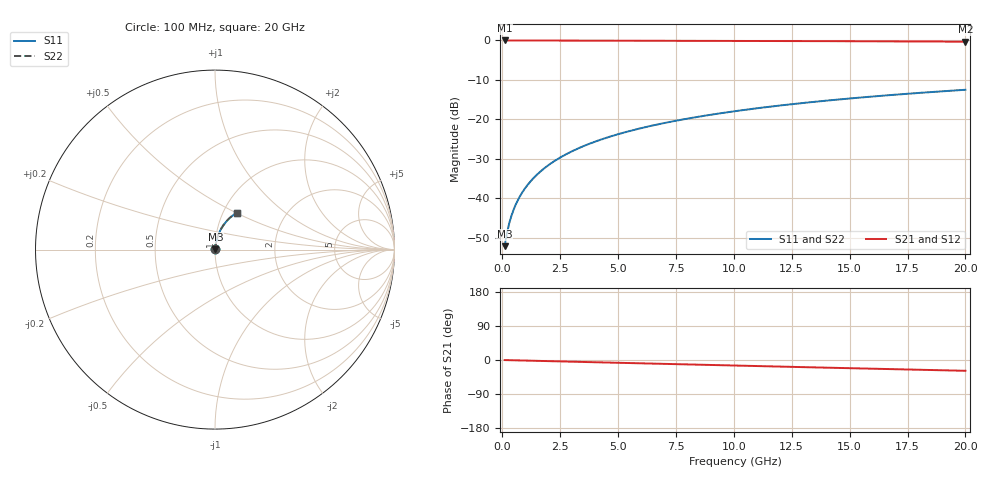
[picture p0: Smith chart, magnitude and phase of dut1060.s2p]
! Touchstone file exported from HFSS 2026.1.0
!  File:  C:/ffzhzh/LocalFiles/Ansys_Project_Files/temp_train_TMRDL_1060_1783160527_51560.aedt
!  Generated:  06:23:28 PM Jul  4, 2026
!  Design:  TMRDL
!  Project:  temp_train_TMRDL_1060_1783160527_51560
! Variables:
!  h_bsmrdl = 2um
!  h_ox = 20um
!  h_rdl = 5um
!  h_sub = 80um
!  h_tmrdl = 3.09um
!  h_tsv = 80um
!  h_via = 3um
!  l_bsmrdl = 300um
!  l_sub = 809.09um
!  l_tmrdl = 409.09um
!  m_sub = 200um
!  pitch = 48.66um
!  r_tsv = 6um
!  s_tmrdl = 10um
!  w_bsmrdl = 18um
!  w_sub = 500um
!  w_tmrdl = 27.54um
!  x_tsv_center1 = 422.86um
!  x_tsv_center2 = 740.86um
!  x_tsv_center3 = 1177.49um
!  x_tsv_center4 = 1495.49um
!  x_tsv_center5 = 1932.12um
!  x_tsv_center6 = 2250.12um
# GHz S MA R 50.000000
! Terminal data exported
! Port[1] = TM_RDL1_1_T1
! Port[2] = TM_RDL1_1_T2
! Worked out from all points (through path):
!   200 points, 100 MHz to 20 GHz, reference 50 ohm
!   highest |S21| = -0.02 dB at 100 MHz (marker M1); lowest = -0.3 dB at 20 GHz (marker M2)
!   group delay of S21, straight-line fit = 3.96 ps
!   lowest |S11| = -52.1 dB at 100 MHz (marker M3), VSWR 1.00, Z = 50.2 + j0.15 ohm
!   |S11| at or under -10 dB: start of sweep to end of sweep
!   |S22| runs from -52.1 to -12.5 dB; largest |S21 - S12| = 3e-15
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0.1  0.002492 37.0  0.998 -0.2  0.998 -0.2  0.002492 37.0
! Gamma 0 0 0 0
! Port Impedance 50 0 50 0
0.2  0.003622 54.2  0.9979 -0.3  0.9979 -0.3  0.003622 54.2
0.3  0.004865 62.2  0.9978 -0.5  0.9978 -0.5  0.004865 62.2
0.4  0.006116 66.8  0.9976 -0.6  0.9976 -0.6  0.006116 66.8
0.5  0.007362 69.9  0.9975 -0.8  0.9975 -0.8  0.007362 69.9
0.6  0.008609 72.1  0.9975 -0.9  0.9975 -0.9  0.008609 72.1
0.8  0.01112 75.2  0.9973 -1.2  0.9973 -1.2  0.01112 75.2
1.1  0.01492 78.0  0.9972 -1.6  0.9972 -1.6  0.01492 78.0
1.3  0.01748 79.0  0.9971 -1.9  0.9971 -1.9  0.01748 79.0
1.6  0.02134 80.1  0.997 -2.4  0.997 -2.4  0.02134 80.1
2.1  0.02779 80.9  0.9967 -3.1  0.9967 -3.1  0.02779 80.9
2.7  0.03555 81.1  0.9963 -4.0  0.9963 -4.0  0.03555 81.1
3.5  0.04586 80.8  0.9957 -5.2  0.9957 -5.2  0.04586 80.8
4.2  0.05484 80.2  0.995 -6.2  0.995 -6.2  0.05484 80.2
5  0.06502 79.3  0.9942 -7.4  0.9942 -7.4  0.06503 79.3
5.9  0.07638 78.3  0.993 -8.7  0.993 -8.7  0.07639 78.3
6.8  0.08763 77.2  0.9918 -10.0  0.9918 -10.0  0.08763 77.2
8.3  0.1061 75.2  0.9894 -12.2  0.9894 -12.2  0.1061 75.2
10.1  0.1278 72.8  0.9863 -14.7  0.9863 -14.7  0.1278 72.8
13.4  0.1662 68.4  0.9796 -19.4  0.9796 -19.4  0.1662 68.4
16.7  0.2027 64.0  0.972 -24.0  0.972 -24.0  0.2027 64.0
20  0.2372 59.6  0.9636 -28.5  0.9636 -28.5  0.2372 59.6
